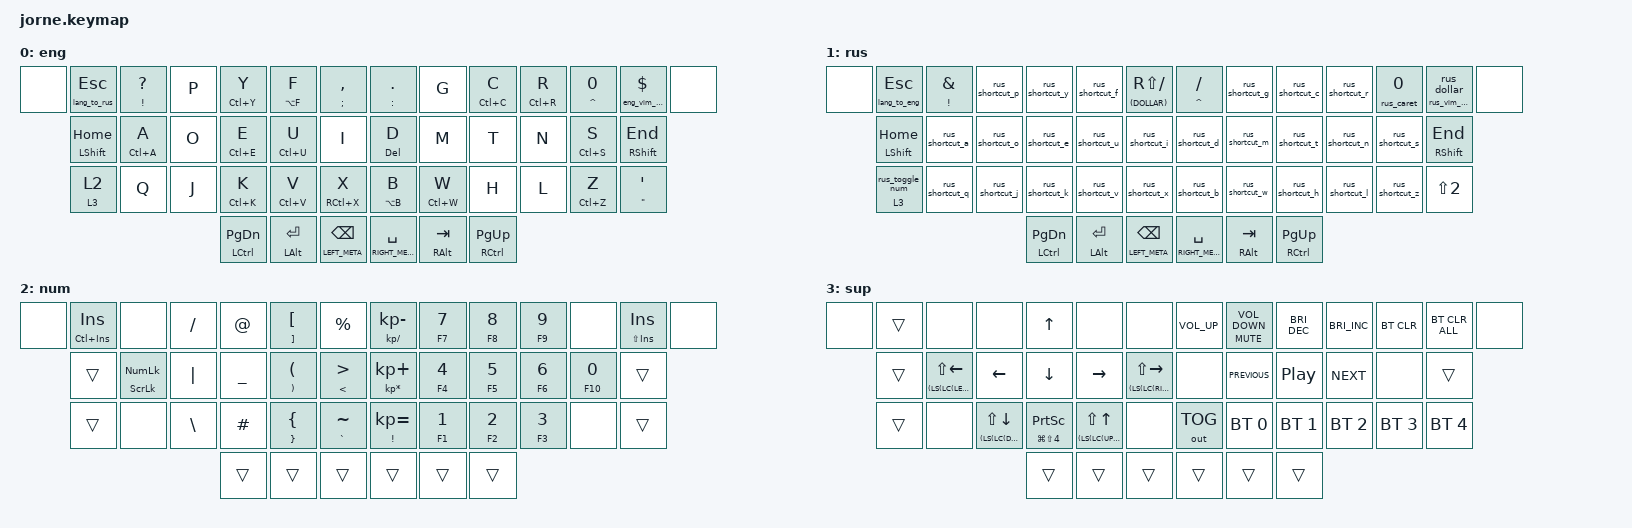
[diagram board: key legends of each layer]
/*
 * Copyright (c) 2020 The ZMK Contributors
 *
 * SPDX-License-Identifier: MIT
 */

#include <dt-bindings/zmk/modifiers.h>
#include <behaviors.dtsi>
#include <dt-bindings/zmk/bt.h>
#include <dt-bindings/zmk/keys.h>
#include <dt-bindings/zmk/outputs.h>

/ {
    combos {
        compatible = "zmk,combos";

        combo_game {
            bindings = <&tog 0>;
            key-positions = <38 43>;
            timeout-ms = <200>;
        };
    };

    behaviors {
        // Preserve Russian tap/hold bindings; use English codes with Ctrl, Alt or GUI.

        rus_shortcut_p: rus_shortcut_p {
            compatible = "zmk,behavior-mod-morph";
            #binding-cells = <0>;
            bindings = <&hml A H>, <&kp P>;

            mods = <(MOD_LCTL | MOD_RCTL | MOD_LALT | MOD_RALT | MOD_LGUI | MOD_RGUI)>;
            keep-mods = <(MOD_LCTL | MOD_RCTL | MOD_LALT | MOD_RALT | MOD_LGUI | MOD_RGUI)>;
        };

        rus_shortcut_y: rus_shortcut_y {
            compatible = "zmk,behavior-mod-morph";
            #binding-cells = <0>;
            bindings = <&mt LC(Y) E>, <&kp Y>;

            mods = <(MOD_LCTL | MOD_RCTL | MOD_LALT | MOD_RALT | MOD_LGUI | MOD_RGUI)>;
            keep-mods = <(MOD_LCTL | MOD_RCTL | MOD_LALT | MOD_RALT | MOD_LGUI | MOD_RGUI)>;
        };

        rus_shortcut_f: rus_shortcut_f {
            compatible = "zmk,behavior-mod-morph";
            #binding-cells = <0>;
            bindings = <&mt LA(F) U>, <&kp F>;

            mods = <(MOD_LCTL | MOD_RCTL | MOD_LALT | MOD_RALT | MOD_LGUI | MOD_RGUI)>;
            keep-mods = <(MOD_LCTL | MOD_RCTL | MOD_LALT | MOD_RALT | MOD_LGUI | MOD_RGUI)>;
        };

        rus_shortcut_g: rus_shortcut_g {
            compatible = "zmk,behavior-mod-morph";
            #binding-cells = <0>;
            bindings = <&hmr RIGHT_BRACKET M>, <&kp G>;

            mods = <(MOD_LCTL | MOD_RCTL | MOD_LALT | MOD_RALT | MOD_LGUI | MOD_RGUI)>;
            keep-mods = <(MOD_LCTL | MOD_RCTL | MOD_LALT | MOD_RALT | MOD_LGUI | MOD_RGUI)>;
        };

        rus_shortcut_c: rus_shortcut_c {
            compatible = "zmk,behavior-mod-morph";
            #binding-cells = <0>;
            bindings = <&mt LC(C) C>, <&kp C>;

            mods = <(MOD_LCTL | MOD_RCTL | MOD_LALT | MOD_RALT | MOD_LGUI | MOD_RGUI)>;
            keep-mods = <(MOD_LCTL | MOD_RCTL | MOD_LALT | MOD_RALT | MOD_LGUI | MOD_RGUI)>;
        };

        rus_shortcut_r: rus_shortcut_r {
            compatible = "zmk,behavior-mod-morph";
            #binding-cells = <0>;
            bindings = <&hmr RC(R) Z>, <&kp R>;

            mods = <(MOD_LCTL | MOD_RCTL | MOD_LALT | MOD_RALT | MOD_LGUI | MOD_RGUI)>;
            keep-mods = <(MOD_LCTL | MOD_RCTL | MOD_LALT | MOD_RALT | MOD_LGUI | MOD_RGUI)>;
        };

        rus_shortcut_a: rus_shortcut_a {
            compatible = "zmk,behavior-mod-morph";
            #binding-cells = <0>;
            bindings = <&mt LC(A) F>, <&kp A>;

            mods = <(MOD_LCTL | MOD_RCTL | MOD_LALT | MOD_RALT | MOD_LGUI | MOD_RGUI)>;
            keep-mods = <(MOD_LCTL | MOD_RCTL | MOD_LALT | MOD_RALT | MOD_LGUI | MOD_RGUI)>;
        };

        rus_shortcut_o: rus_shortcut_o {
            compatible = "zmk,behavior-mod-morph";
            #binding-cells = <0>;
            bindings = <&hml GRAVE J>, <&kp O>;

            mods = <(MOD_LCTL | MOD_RCTL | MOD_LALT | MOD_RALT | MOD_LGUI | MOD_RGUI)>;
            keep-mods = <(MOD_LCTL | MOD_RCTL | MOD_LALT | MOD_RALT | MOD_LGUI | MOD_RGUI)>;
        };

        rus_shortcut_e: rus_shortcut_e {
            compatible = "zmk,behavior-mod-morph";
            #binding-cells = <0>;
            bindings = <&hml LC(E) T>, <&kp E>;

            mods = <(MOD_LCTL | MOD_RCTL | MOD_LALT | MOD_RALT | MOD_LGUI | MOD_RGUI)>;
            keep-mods = <(MOD_LCTL | MOD_RCTL | MOD_LALT | MOD_RALT | MOD_LGUI | MOD_RGUI)>;
        };

        rus_shortcut_u: rus_shortcut_u {
            compatible = "zmk,behavior-mod-morph";
            #binding-cells = <0>;
            bindings = <&mt LC(U) K>, <&kp U>;

            mods = <(MOD_LCTL | MOD_RCTL | MOD_LALT | MOD_RALT | MOD_LGUI | MOD_RGUI)>;
            keep-mods = <(MOD_LCTL | MOD_RCTL | MOD_LALT | MOD_RALT | MOD_LGUI | MOD_RGUI)>;
        };

        rus_shortcut_i: rus_shortcut_i {
            compatible = "zmk,behavior-mod-morph";
            #binding-cells = <0>;
            bindings = <&hml Q B>, <&kp I>;

            mods = <(MOD_LCTL | MOD_RCTL | MOD_LALT | MOD_RALT | MOD_LGUI | MOD_RGUI)>;
            keep-mods = <(MOD_LCTL | MOD_RCTL | MOD_LALT | MOD_RALT | MOD_LGUI | MOD_RGUI)>;
        };

        rus_shortcut_d: rus_shortcut_d {
            compatible = "zmk,behavior-mod-morph";
            #binding-cells = <0>;
            bindings = <&mt DELETE L>, <&kp D>;

            mods = <(MOD_LCTL | MOD_RCTL | MOD_LALT | MOD_RALT | MOD_LGUI | MOD_RGUI)>;
            keep-mods = <(MOD_LCTL | MOD_RCTL | MOD_LALT | MOD_RALT | MOD_LGUI | MOD_RGUI)>;
        };

        rus_shortcut_m: rus_shortcut_m {
            compatible = "zmk,behavior-mod-morph";
            #binding-cells = <0>;
            bindings = <&kp V>, <&kp M>;

            mods = <(MOD_LCTL | MOD_RCTL | MOD_LALT | MOD_RALT | MOD_LGUI | MOD_RGUI)>;
            keep-mods = <(MOD_LCTL | MOD_RCTL | MOD_LALT | MOD_RALT | MOD_LGUI | MOD_RGUI)>;
        };

        rus_shortcut_t: rus_shortcut_t {
            compatible = "zmk,behavior-mod-morph";
            #binding-cells = <0>;
            bindings = <&kp N>, <&kp T>;

            mods = <(MOD_LCTL | MOD_RCTL | MOD_LALT | MOD_RALT | MOD_LGUI | MOD_RGUI)>;
            keep-mods = <(MOD_LCTL | MOD_RCTL | MOD_LALT | MOD_RALT | MOD_LGUI | MOD_RGUI)>;
        };

        rus_shortcut_n: rus_shortcut_n {
            compatible = "zmk,behavior-mod-morph";
            #binding-cells = <0>;
            bindings = <&kp G>, <&kp N>;

            mods = <(MOD_LCTL | MOD_RCTL | MOD_LALT | MOD_RALT | MOD_LGUI | MOD_RGUI)>;
            keep-mods = <(MOD_LCTL | MOD_RCTL | MOD_LALT | MOD_RALT | MOD_LGUI | MOD_RGUI)>;
        };

        rus_shortcut_s: rus_shortcut_s {
            compatible = "zmk,behavior-mod-morph";
            #binding-cells = <0>;
            bindings = <&mt LC(S) S>, <&kp S>;

            mods = <(MOD_LCTL | MOD_RCTL | MOD_LALT | MOD_RALT | MOD_LGUI | MOD_RGUI)>;
            keep-mods = <(MOD_LCTL | MOD_RCTL | MOD_LALT | MOD_RALT | MOD_LGUI | MOD_RGUI)>;
        };

        rus_shortcut_q: rus_shortcut_q {
            compatible = "zmk,behavior-mod-morph";
            #binding-cells = <0>;
            bindings = <&hml O I>, <&kp Q>;

            mods = <(MOD_LCTL | MOD_RCTL | MOD_LALT | MOD_RALT | MOD_LGUI | MOD_RGUI)>;
            keep-mods = <(MOD_LCTL | MOD_RCTL | MOD_LALT | MOD_RALT | MOD_LGUI | MOD_RGUI)>;
        };

        rus_shortcut_j: rus_shortcut_j {
            compatible = "zmk,behavior-mod-morph";
            #binding-cells = <0>;
            bindings = <&hml SQT SEMICOLON>, <&kp J>;

            mods = <(MOD_LCTL | MOD_RCTL | MOD_LALT | MOD_RALT | MOD_LGUI | MOD_RGUI)>;
            keep-mods = <(MOD_LCTL | MOD_RCTL | MOD_LALT | MOD_RALT | MOD_LGUI | MOD_RGUI)>;
        };

        rus_shortcut_k: rus_shortcut_k {
            compatible = "zmk,behavior-mod-morph";
            #binding-cells = <0>;
            bindings = <&mt LC(K) R>, <&kp K>;

            mods = <(MOD_LCTL | MOD_RCTL | MOD_LALT | MOD_RALT | MOD_LGUI | MOD_RGUI)>;
            keep-mods = <(MOD_LCTL | MOD_RCTL | MOD_LALT | MOD_RALT | MOD_LGUI | MOD_RGUI)>;
        };

        rus_shortcut_v: rus_shortcut_v {
            compatible = "zmk,behavior-mod-morph";
            #binding-cells = <0>;
            bindings = <&mt LC(V) COMMA>, <&kp V>;

            mods = <(MOD_LCTL | MOD_RCTL | MOD_LALT | MOD_RALT | MOD_LGUI | MOD_RGUI)>;
            keep-mods = <(MOD_LCTL | MOD_RCTL | MOD_LALT | MOD_RALT | MOD_LGUI | MOD_RGUI)>;
        };

        rus_shortcut_x: rus_shortcut_x {
            compatible = "zmk,behavior-mod-morph";
            #binding-cells = <0>;
            bindings = <&mt LC(X) LEFT_BRACKET>, <&kp X>;

            mods = <(MOD_LCTL | MOD_RCTL | MOD_LALT | MOD_RALT | MOD_LGUI | MOD_RGUI)>;
            keep-mods = <(MOD_LCTL | MOD_RCTL | MOD_LALT | MOD_RALT | MOD_LGUI | MOD_RGUI)>;
        };

        rus_shortcut_b: rus_shortcut_b {
            compatible = "zmk,behavior-mod-morph";
            #binding-cells = <0>;
            bindings = <&mt LA(B) D>, <&kp B>;

            mods = <(MOD_LCTL | MOD_RCTL | MOD_LALT | MOD_RALT | MOD_LGUI | MOD_RGUI)>;
            keep-mods = <(MOD_LCTL | MOD_RCTL | MOD_LALT | MOD_RALT | MOD_LGUI | MOD_RGUI)>;
        };

        rus_shortcut_w: rus_shortcut_w {
            compatible = "zmk,behavior-mod-morph";
            #binding-cells = <0>;
            bindings = <&hmr LC(W) P>, <&kp W>;

            mods = <(MOD_LCTL | MOD_RCTL | MOD_LALT | MOD_RALT | MOD_LGUI | MOD_RGUI)>;
            keep-mods = <(MOD_LCTL | MOD_RCTL | MOD_LALT | MOD_RALT | MOD_LGUI | MOD_RGUI)>;
        };

        rus_shortcut_h: rus_shortcut_h {
            compatible = "zmk,behavior-mod-morph";
            #binding-cells = <0>;
            bindings = <&kp Y>, <&kp H>;

            mods = <(MOD_LCTL | MOD_RCTL | MOD_LALT | MOD_RALT | MOD_LGUI | MOD_RGUI)>;
            keep-mods = <(MOD_LCTL | MOD_RCTL | MOD_LALT | MOD_RALT | MOD_LGUI | MOD_RGUI)>;
        };

        rus_shortcut_l: rus_shortcut_l {
            compatible = "zmk,behavior-mod-morph";
            #binding-cells = <0>;
            bindings = <&hmr W X>, <&kp L>;

            mods = <(MOD_LCTL | MOD_RCTL | MOD_LALT | MOD_RALT | MOD_LGUI | MOD_RGUI)>;
            keep-mods = <(MOD_LCTL | MOD_RCTL | MOD_LALT | MOD_RALT | MOD_LGUI | MOD_RGUI)>;
        };

        rus_shortcut_z: rus_shortcut_z {
            compatible = "zmk,behavior-mod-morph";
            #binding-cells = <0>;
            bindings = <&mt LC(Z) PERIOD>, <&kp Z>;

            mods = <(MOD_LCTL | MOD_RCTL | MOD_LALT | MOD_RALT | MOD_LGUI | MOD_RGUI)>;
            keep-mods = <(MOD_LCTL | MOD_RCTL | MOD_LALT | MOD_RALT | MOD_LGUI | MOD_RGUI)>;
        };

        hml: hml {
            compatible = "zmk,behavior-hold-tap";
            label = "HML";
            bindings = <&kp>, <&kp>;

            #binding-cells = <2>;
            tapping-term-ms = <220>;
            quick-tap-ms = <175>;
            flavor = "balanced";
            require-prior-idle-ms = <100>;
            hold-trigger-key-positions = <7 8 9 10 11 12 13 20 21 22 23 24 25 32 33 34 35 36 37 38 39 40 41 42 43>;
            hold-trigger-on-release;
        };

        hmr: hmr {
            compatible = "zmk,behavior-hold-tap";
            label = "HMR";
            bindings = <&kp>, <&kp>;

            #binding-cells = <2>;
            tapping-term-ms = <220>;
            quick-tap-ms = <175>;
            require-prior-idle-ms = <100>;
            flavor = "balanced";
            hold-trigger-key-positions = <0 1 2 3 4 5 6 14 15 16 17 18 19 26 27 28 29 30 31 38 39 40 41 42 43>;
            hold-trigger-on-release;
        };

        tkl: tkl {
            compatible = "zmk,behavior-hold-tap";
            label = "TKL";
            bindings = <&mo>, <&kp>;

            #binding-cells = <2>;
            tapping-term-ms = <220>;
            quick-tap-ms = <175>;
            flavor = "balanced";
            require-prior-idle-ms = <100>;
            hold-trigger-key-positions = <7 8 9 10 11 12 13 20 21 22 23 24 25 32 33 34 35 36 37 38 39 40 41 42 43>;
            hold-trigger-on-release;
        };

        tkr: tkr {
            compatible = "zmk,behavior-hold-tap";
            label = "TKR";
            bindings = <&mo>, <&kp>;

            #binding-cells = <2>;
            tapping-term-ms = <220>;
            quick-tap-ms = <175>;
            require-prior-idle-ms = <100>;
            flavor = "balanced";
            hold-trigger-key-positions = <0 1 2 3 4 5 6 14 15 16 17 18 19 26 27 28 29 30 31 38 39 40 41 42 43>;
            hold-trigger-on-release;
        };

        esc_hold_to_rus: esc_hold_to_rus {
            compatible = "zmk,behavior-hold-tap";
            label = "ESC_HOLD_TO_RUS";
            bindings = <&lang_to_rus>, <&kp>;

            #binding-cells = <2>;
            tapping-term-ms = <220>;
            flavor = "tap-preferred";
        };

        esc_hold_to_eng: esc_hold_to_eng {
            compatible = "zmk,behavior-hold-tap";
            label = "ESC_HOLD_TO_ENG";
            bindings = <&lang_to_eng>, <&kp>;

            #binding-cells = <2>;
            flavor = "tap-preferred";
            tapping-term-ms = <220>;
        };

        eng_layer_switch: eng_layer_switch {
            compatible = "zmk,behavior-hold-tap";
            label = "ENG_LAYER_SWITCH";
            bindings = <&tog>, <&tog>;

            #binding-cells = <2>;
            flavor = "tap-preferred";
            tapping-term-ms = <220>;
        };

        eng_vim_g_underscore_hold: eng_vim_g_underscore_hold {
            compatible = "zmk,behavior-hold-tap";
            label = "ENG_VIM_G_UNDERSCORE_HOLD";
            bindings = <&eng_vim_g_underscore>, <&kp>;

            #binding-cells = <2>;
            flavor = "tap-preferred";
            tapping-term-ms = <220>;
        };

        rus_vim_g_underscore_n_dol_hold: rus_vim_g_underscore_n_dol_hold {
            compatible = "zmk,behavior-hold-tap";
            label = "RUS_VIM_G_UNDERSCORE_N_DOL_HOLD";
            bindings = <&rus_vim_g_underscore>, <&rus_dollar>;

            #binding-cells = <2>;
            flavor = "tap-preferred";
            tapping-term-ms = <220>;
        };

        rus_caret_hold: rus_caret_hold {
            compatible = "zmk,behavior-hold-tap";
            label = "RUS_CARET_HOLD";
            bindings = <&rus_caret>, <&kp>;

            #binding-cells = <2>;
            tapping-term-ms = <220>;
            flavor = "tap-preferred";
        };

        rus_layer_switch: rus_layer_switch {
            compatible = "zmk,behavior-hold-tap";
            label = "RUS_LAYER_SWITCH";
            bindings = <&tog>, <&rus_toggle_num>;

            #binding-cells = <2>;
            flavor = "tap-preferred";
            tapping-term-ms = <220>;
        };
    };

    macros {
        lang_to_rus: lang_to_rus {
            compatible = "zmk,behavior-macro";
            #binding-cells = <0>;
            bindings = <&kp CAPSLOCK &to 1>;
            label = "LANG_TO_RUS";
        };

        lang_to_eng: lang_to_eng {
            compatible = "zmk,behavior-macro";
            #binding-cells = <0>;
            bindings = <&kp CAPSLOCK &to 0>;
            label = "LANG_TO_ENG";
        };

        rus_caret: rus_caret {
            compatible = "zmk,behavior-macro";
            #binding-cells = <0>;
            bindings = <&kp CAPSLOCK &kp CARET &kp CAPSLOCK>;
            label = "RUS_CARET";
            tap-ms = <50>;
            wait-ms = <500>;
        };

        rus_vim_g_underscore: rus_vim_g_underscore {
            compatible = "zmk,behavior-macro";
            #binding-cells = <0>;
            bindings = <&kp CAPSLOCK &kp G &kp UNDERSCORE &kp CAPSLOCK>;
            label = "RUS_VIM_G_UNDERSCORE";
            tap-ms = <50>;
            wait-ms = <500>;
        };

        eng_vim_g_underscore: eng_vim_g_underscore {
            compatible = "zmk,behavior-macro";
            #binding-cells = <0>;
            bindings = <&kp G &kp UNDERSCORE>;
            label = "ENG_VIM_G_UNDERSCORE";
        };

        rus_dollar: rus_dollar {
            compatible = "zmk,behavior-macro";
            #binding-cells = <0>;
            bindings = <&kp CAPSLOCK &kp DOLLAR &kp CAPSLOCK>;
            label = "RUS_DOLLAR";
            tap-ms = <50>;
            wait-ms = <500>;
        };

        rus_toggle_num: rus_toggle_num {
            compatible = "zmk,behavior-macro";
            #binding-cells = <0>;
            bindings = <&kp CAPSLOCK &tog 2>;
            label = "RUS_TOGGLE_NUM";
            wait-ms = <200>;
            tap-ms = <50>;
        };
    };

    keymap {
        compatible = "zmk,keymap";

        eng {
            bindings = <
&none  &esc_hold_to_rus 0 ESCAPE  &hml EXCLAMATION QUESTION  &kp P  &mt LC(Y) Y                 &mt LA(F) F         &hml SEMICOLON COMMA       &hmr COLON PERIOD     &kp G              &mt LC(C) C                &mt LC(R) R  &mt CARET N0  &eng_vim_g_underscore_hold 0 DOLLAR  &none
       &mt LEFT_SHIFT HOME        &mt LC(A) A                &kp O  &mt LC(E) E                 &mt LC(U) U         &kp I                      &mt DELETE D          &kp M              &kp T                      &kp N        &mt LC(S) S   &mt RIGHT_SHIFT END
       &eng_layer_switch 3 2      &kp Q                      &kp J  &mt LC(K) K                 &mt LC(V) V         &mt RC(X) X                &mt LA(B) B           &mt LC(W) W        &kp H                      &kp L        &mt LC(Z) Z   &hmr DOUBLE_QUOTES SQT
                                                                    &mt LEFT_CONTROL PAGE_DOWN  &mt LEFT_ALT ENTER  &mt LEFT_META BACKSPACE    &mt RIGHT_META SPACE  &mt RIGHT_ALT TAB  &mt RIGHT_CONTROL PAGE_UP
            >;
        };

        rus {
            bindings = <
&none  &esc_hold_to_eng 0 ESCAPE  &hml EXCLAMATION AMPERSAND  &rus_shortcut_p  &rus_shortcut_y             &rus_shortcut_f     &hml (DOLLAR) RS(SLASH)    &hmr CARET SLASH      &rus_shortcut_g    &rus_shortcut_c            &rus_shortcut_r  &rus_caret_hold 0 N0  &rus_vim_g_underscore_n_dol_hold 0 0  &none
       &mt LEFT_SHIFT HOME        &rus_shortcut_a             &rus_shortcut_o  &rus_shortcut_e             &rus_shortcut_u     &rus_shortcut_i            &rus_shortcut_d       &rus_shortcut_m    &rus_shortcut_t            &rus_shortcut_n  &rus_shortcut_s       &mt RIGHT_SHIFT END
       &rus_layer_switch 3 0      &rus_shortcut_q             &rus_shortcut_j  &rus_shortcut_k             &rus_shortcut_v     &rus_shortcut_x            &rus_shortcut_b       &rus_shortcut_w    &rus_shortcut_h            &rus_shortcut_l  &rus_shortcut_z       &kp LS(N2)
                                                                               &mt LEFT_CONTROL PAGE_DOWN  &mt LEFT_ALT ENTER  &mt LEFT_META BACKSPACE    &mt RIGHT_META SPACE  &mt RIGHT_ALT TAB  &mt RIGHT_CONTROL PAGE_UP
            >;
        };

        num {
            bindings = <
&none  &mt LC(INSERT) INSERT  &none                       &kp SLASH      &kp AT_SIGN  &mt RIGHT_BRACKET LEFT_BRACKET          &kp PERCENT                   &mt KP_SLASH KP_MINUS     &mt F7 NUMBER_7  &mt F8 NUMBER_8  &mt F9 NUMBER_9  &none             &mt LS(INSERT) INSERT  &none
       &trans                 &hmr SCROLLLOCK KP_NUMLOCK  &kp PIPE       &kp UNDER    &mt RIGHT_PARENTHESIS LEFT_PARENTHESIS  &mt LESS_THAN GREATER_THAN    &mt KP_MULTIPLY KP_PLUS   &mt F4 NUMBER_4  &mt F5 NUMBER_5  &mt F6 NUMBER_6  &mt F10 NUMBER_0  &trans
       &trans                 &none                       &kp BACKSLASH  &kp HASH     &mt RIGHT_BRACE LEFT_BRACE              &hml GRAVE TILDE              &mt EXCLAMATION KP_EQUAL  &mt F1 NUMBER_1  &mt F2 NUMBER_2  &mt F3 NUMBER_3  &none             &trans
                                                                         &trans       &trans                                  &trans                        &trans                    &trans           &trans
            >;
        };

        sup {
            bindings = <
&none  &trans  &none                        &none                        &kp UP                      &none                    &none                            &kp C_VOL_UP  &hml C_MUTE C_VOLUME_DOWN  &kp C_BRIGHTNESS_DEC  &kp C_BRIGHTNESS_INC  &bt BT_CLR    &bt BT_CLR_ALL  &none
       &trans  &mt (LS(LC(LEFT))) LS(LEFT)  &kp LEFT                     &kp DOWN                    &kp RIGHT                &mt (LS(LC(RIGHT))) LS(RIGHT)    &none         &kp C_PREVIOUS             &kp C_PLAY_PAUSE      &kp C_NEXT            &none         &trans
       &trans  &none                        &mt (LS(LC(DOWN))) LS(DOWN)  &mt LG(LS(N4)) PRINTSCREEN  &mt (LS(LC(UP))) LS(UP)  &none                            &out OUT_TOG  &bt BT_SEL 0               &bt BT_SEL 1          &bt BT_SEL 2          &bt BT_SEL 3  &bt BT_SEL 4
                                                                         &trans                      &trans                   &trans                           &trans        &trans                     &trans
            >;
        };
    };
};
